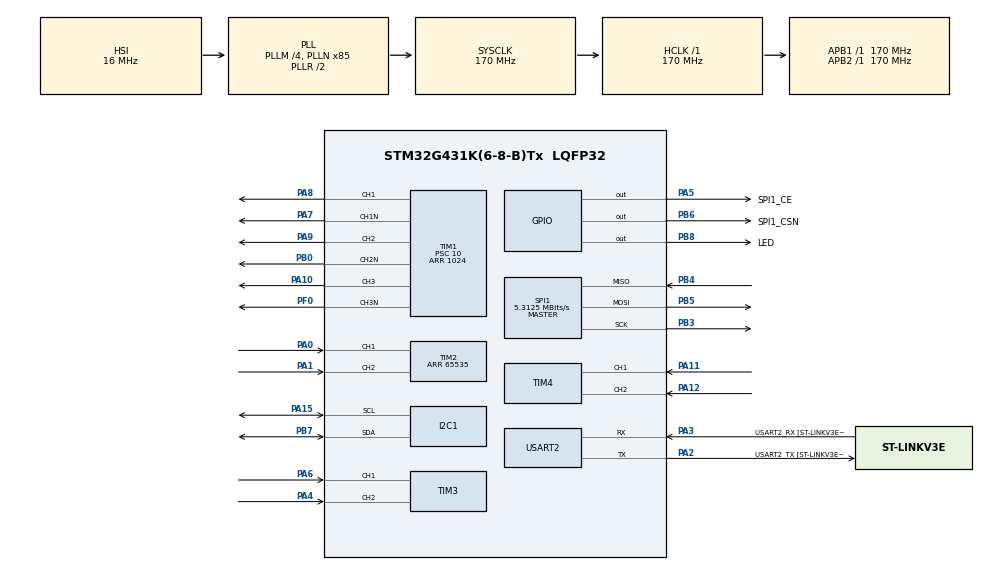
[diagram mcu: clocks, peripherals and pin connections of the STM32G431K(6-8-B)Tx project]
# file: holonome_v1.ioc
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I2C1.Timing=0x30A0A7FB
Mcu.Family=STM32G4
Mcu.Name=STM32G431K(6-8-B)Tx
Mcu.Package=LQFP32
NVIC.PriorityGroup=NVIC_PRIORITYGROUP_4
NVIC.TIM6_DAC_IRQn=true\:15\:0\:false\:false\:true\:false\:true\:true
NVIC.TIM7_IRQn=true\:0\:0\:false\:false\:true\:true\:true\:true
NVIC.TimeBase=TIM6_DAC_IRQn
NVIC.TimeBaseIP=TIM6
NVIC.USART2_IRQn=true\:0\:0\:false\:false\:true\:true\:true\:true
PA0.Signal=S_TIM2_CH1
PA1.Signal=S_TIM2_CH2
PA10.Signal=S_TIM1_CH3
PA11.Signal=S_TIM4_CH1
PA12.Signal=S_TIM4_CH2
PA13.GPIO_Label=T_SWDIO
PA13.Mode=Serial_Wire
PA13.Signal=SYS_JTMS-SWDIO
PA14.GPIO_Label=T_SWCLK
PA14.Mode=Serial_Wire
PA14.Signal=SYS_JTCK-SWCLK
PA15.Mode=I2C
PA15.Signal=I2C1_SCL
PA2.GPIO_Label=USART2_TX [ST-LINKV3E_VCP_RX]
PA2.Mode=Asynchronous
PA2.Signal=USART2_TX
PA3.GPIO_Label=USART2_RX [ST-LINKV3E_VCP_TX]
PA3.Mode=Asynchronous
PA3.Signal=USART2_RX
PA4.Signal=S_TIM3_CH2
PA5.GPIO_Label=SPI1_CE
PA5.Signal=GPIO_Output
PA6.Signal=S_TIM3_CH1
PA7.Mode=PWM Generation1 CH1 CH1N
PA7.Signal=TIM1_CH1N
PA8.Signal=S_TIM1_CH1
PA9.Signal=S_TIM1_CH2
PB0.Mode=PWM Generation2 CH2 CH2N
PB0.Signal=TIM1_CH2N
PB3.Mode=Full_Duplex_Master
PB3.Signal=SPI1_SCK
PB4.Mode=Full_Duplex_Master
PB4.Signal=SPI1_MISO
PB5.Mode=Full_Duplex_Master
PB5.Signal=SPI1_MOSI
PB6.GPIO_Label=SPI1_CSN
PB6.Signal=GPIO_Output
PB7.Mode=I2C
PB7.Signal=I2C1_SDA
PB8-BOOT0.GPIO_Label=LED
PB8-BOOT0.Signal=GPIO_Output
PF0-OSC_IN.Mode=PWM Generation3 CH3 CH3N
PF0-OSC_IN.Signal=TIM1_CH3N
ProjectManager.HeapSize=0x200
ProjectManager.StackSize=0x400
ProjectManager.TargetToolchain=STM32CubeIDE
RCC.ADC12Freq_Value=170000000
RCC.AHBFreq_Value=170000000
RCC.APB1Freq_Value=170000000
RCC.APB1TimFreq_Value=170000000
RCC.APB2Freq_Value=170000000
RCC.APB2TimFreq_Value=170000000
RCC.CortexFreq_Value=170000000
RCC.EXTERNAL_CLOCK_VALUE=12288000
RCC.HCLKFreq_Value=170000000
RCC.HSE_VALUE=8000000
RCC.HSI48_VALUE=48000000
RCC.HSI_VALUE=16000000
RCC.LSE_VALUE=32768
RCC.PLLM=RCC_PLLM_DIV4
RCC.PLLN=85
RCC.SYSCLKFreq_VALUE=170000000
RCC.SYSCLKSource=RCC_SYSCLKSOURCE_PLLCLK
RCC.USBFreq_Value=170000000
RCC.VCOOutputFreq_Value=340000000
SH.S_TIM1_CH1.0=TIM1_CH1,PWM Generation1 CH1 CH1N
SH.S_TIM1_CH2.0=TIM1_CH2,PWM Generation2 CH2 CH2N
SH.S_TIM1_CH3.0=TIM1_CH3,PWM Generation3 CH3 CH3N
SH.S_TIM2_CH1.0=TIM2_CH1,Encoder_Interface
SH.S_TIM2_CH2.0=TIM2_CH2,Encoder_Interface
SH.S_TIM3_CH1.0=TIM3_CH1,Encoder_Interface
SH.S_TIM3_CH2.0=TIM3_CH2,Encoder_Interface
SH.S_TIM4_CH1.0=TIM4_CH1,Encoder_Interface
SH.S_TIM4_CH2.0=TIM4_CH2,Encoder_Interface
SPI1.BaudRatePrescaler=SPI_BAUDRATEPRESCALER_32
SPI1.CalculateBaudRate=5.3125 MBits/s
SPI1.DataSize=SPI_DATASIZE_8BIT
SPI1.Direction=SPI_DIRECTION_2LINES
SPI1.Mode=SPI_MODE_MASTER
SPI1.VirtualType=VM_MASTER
TIM1.AutoReloadPreload=TIM_AUTORELOAD_PRELOAD_ENABLE
TIM1.Channel-PWM\ Generation1\ CH1\ CH1N=TIM_CHANNEL_1
TIM1.Channel-PWM\ Generation2\ CH2\ CH2N=TIM_CHANNEL_2
TIM1.Channel-PWM\ Generation3\ CH3\ CH3N=TIM_CHANNEL_3
TIM1.PeriodNoDither=1024
TIM1.Prescaler=10
TIM2.EncoderMode=TIM_ENCODERMODE_TI12
TIM2.PeriodNoDither=65535
TIM3.EncoderMode=TIM_ENCODERMODE_TI12
TIM4.EncoderMode=TIM_ENCODERMODE_TI12
TIM7.PeriodNoDither=1000-1
TIM7.Prescaler=1700-1
USART2.VirtualMode-Asynchronous=VM_ASYNC
USART2.WordLength=WORDLENGTH_8B
VP_SYS_VS_tim6.Mode=TIM6
VP_TIM1_VS_ClockSourceINT.Mode=Internal
VP_TIM7_VS_ClockSourceINT.Mode=Enable_Timer
board=NUCLEO-G431KB

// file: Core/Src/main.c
/* USER CODE BEGIN Header */
/**
 ******************************************************************************
 * @file           : main.c
 * @brief          : Main program body
 ******************************************************************************
 * @attention
 *
 * Copyright (c) 2022 STMicroelectronics.
 * All rights reserved.
 *
 * This software is licensed under terms that can be found in the LICENSE file
 * in the root directory of this software component.
 * If no LICENSE file comes with this software, it is provided AS-IS.
 *
 ******************************************************************************
 */
/* USER CODE END Header */
#include "main.h"
#include "i2c.h"
#include "spi.h"
#include "tim.h"
#include "usart.h"
#include "gpio.h"

/* USER CODE BEGIN Includes */
#include <stdio.h>
#include <string.h>
#include "mpu6050.h"
#include "nrf24l01.h"
#include "motor.h"
/* USER CODE END Includes */

/* USER CODE BEGIN PTD */
#define UART_TX_BUFFER_SIZE 64
#define UART_RX_BUFFER_SIZE 1

/* USER CODE END PTD */

/* USER CODE BEGIN PV */
uint8_t uartTxBuffer[UART_TX_BUFFER_SIZE];
uint8_t uartRxBuffer[UART_RX_BUFFER_SIZE];
unsigned int sizeUartTx=0;
uint8_t errorMsg[]="Erreur \r\n";
uint8_t tickMsg[]="Tick \r\n";

uint8_t spiRxBuffer[32];
uint8_t spiTxBuffer[32];
uint8_t rxAddrP0[5] = {0x00,0xDD,0xCC,0xBB,0xAA};
uint8_t rxAddrP1[5] = {0x00,0xDD,0xCC,0xBB,0xAA};
uint8_t rxAddrP2[5] = {0x00,0xDD,0xCC,0xBB,0xAA};
uint8_t rxAddrP3[5] = {0x00,0xDD,0xCC,0xBB,0xAA};
uint8_t rxAddrP4[5] = {0x00,0xDD,0xCC,0xBB,0xAA};
uint8_t rxAddrP5[5] = {0x00,0xDD,0xCC,0xBB,0xAA};
uint8_t txAddr[5] = {0x00,0xDD,0xCC,0xBB,0xAA};
uint8_t nrf24TxPayload[] = "Hello world from nrf24\r\n";
uint8_t nrf24RxPayload[32] = {};
MPU_Accel_float accel;
MPU_Gyro_float gyro;

uint8_t uartRxReceived;

Motor_HandleTypeDef motorA ={&htim1, TIM_CHANNEL_1, 0, 1500, 0, 0, 0, 0, 0, 0, 0, 0, 25, 3, 0};
Motor_HandleTypeDef motorB ={&htim1, TIM_CHANNEL_2, 0, 549, 0, 0, 0, 0, 0, 0, 0, 0, 25, 3, 0};
Motor_HandleTypeDef motorC ={&htim1, TIM_CHANNEL_3, 0, -2049, 0, 0, 0, 0, 0, 0, 0, 0, 25, 3, 0};

uint8_t consigne = 0;
int divPrint = 0;
/* USER CODE END PV */

void SystemClock_Config(void);

/* USER CODE BEGIN 0 */
void HAL_UART_RxCpltCallback (UART_HandleTypeDef * huart){
	uartRxReceived = 1;
	HAL_UART_Transmit(&huart2, uartRxBuffer, 1, 100);
	HAL_UART_Receive_IT(&huart2, uartRxBuffer, UART_RX_BUFFER_SIZE);
}

/* USER CODE END 0 */

int main(void)
{
	/* USER CODE BEGIN 1 */
	int stringLength;
	int inc = 0;
	int reg = 0;
	int mode = 0;

	int increment=1;
	// 0 power down
	// 1 rx mode
	// 2 tx mode
	/* USER CODE END 1 */

	/* MCU Configuration--------------------------------------------------------*/

	/* Reset of all peripherals, Initializes the Flash interface and the Systick. */
	HAL_Init();

	/* Configure the system clock */
	SystemClock_Config();

	/* Initialize all configured peripherals */
	MX_GPIO_Init();
	MX_USART2_UART_Init();
	MX_I2C1_Init();
	MX_TIM1_Init();
	MX_TIM2_Init();
	MX_TIM3_Init();
	MX_TIM4_Init();
	MX_SPI1_Init();
	MX_TIM7_Init();
	/* USER CODE BEGIN 2 */
	HAL_UART_Receive_IT(&huart2, uartRxBuffer, UART_RX_BUFFER_SIZE);
	stringLength = snprintf((char *) uartTxBuffer,UART_TX_BUFFER_SIZE,"*** Starting ***\r\n");
	HAL_UART_Transmit(&huart2, uartTxBuffer, stringLength, 100);
	//MPU6050_Init();
	//NRF24L01_Init();
	__HAL_TIM_SET_COUNTER(&htim2,37767);
	__HAL_TIM_SET_COUNTER(&htim3,37767);
	__HAL_TIM_SET_COUNTER(&htim4,37767);

	HAL_TIM_Base_Start(&htim1);
	HAL_TIM_Base_Start_IT(&htim7);

	HAL_TIM_Encoder_Start(&htim2, TIM_CHANNEL_ALL);
	HAL_TIM_Encoder_Start(&htim3, TIM_CHANNEL_ALL);
	HAL_TIM_Encoder_Start(&htim4, TIM_CHANNEL_ALL);

	/* USER CODE END 2 */

	/* Infinite loop */
	/* USER CODE BEGIN WHILE */
	while (1)
	{

		motorA.speed64 = 1500;
		motorB.speed64 = 549;
		motorC.speed64 = -2049;
		HAL_Delay(1000);
		motorA.speed64 = 1500;
		motorB.speed64 = 1500;
		motorC.speed64 = 1500;
		HAL_Delay(1000);
		motorA.speed64 = -1500;
		motorB.speed64 = -549;
		motorC.speed64 = 2049;
		HAL_Delay(1000);
		motorA.speed64 = -1500;
		motorB.speed64 = -1500;
		motorC.speed64 = -1500;
		HAL_Delay(1000);

		/****************************************************************************************************************/
		/* Start -- Receive data from MPU6050 																			*/
		/****************************************************************************************************************/
		/*if(HAL_OK != MPU6050_Read_Accel(&accel)){
			HAL_UART_Transmit(&huart2, errorMsg, strlen((char *)errorMsg), HAL_MAX_DELAY);
		}
		if(HAL_OK !=  MPU6050_Read_Gyro(&gyro)){
			HAL_UART_Transmit(&huart2, errorMsg, strlen((char *)errorMsg), HAL_MAX_DELAY);
		}
		stringLength = snprintf((char *) uartTxBuffer,UART_TX_BUFFER_SIZE,"Speed (%1.3f,%1.3f,%1.3f)\r\n",accel.x,accel.y,accel.z);
		HAL_UART_Transmit(&huart2, uartTxBuffer, stringLength, 100);
		stringLength = snprintf((char *) uartTxBuffer,UART_TX_BUFFER_SIZE,"Gyro (%3.3f,%3.3f,%3.3f)\r\n",gyro.x,gyro.y,gyro.z);
		HAL_UART_Transmit(&huart2, uartTxBuffer, stringLength, 100);*/
		/****************************************************************************************************************/
		/* End -- Receive data from MPU6050 																			*/
		/****************************************************************************************************************/

		/****************************************************************************************************************/
		/* Start -- Check status of NRF24L01 																			*/
		/****************************************************************************************************************/
		//HAL_GPIO_WritePin(SPI1_CSN_GPIO_Port, SPI1_CSN_Pin, RESET);
		/*NRF24L01_WriteCSN(RESET);
		if(HAL_OK != HAL_SPI_TransmitReceive(//&hspi1, spiTxBuffer, spiRxBuffer, 1, 100)){
			stringLength = snprintf((char *) uartTxBuffer,UART_TX_BUFFER_SIZE,"SPI Error\r\n",spiRxBuffer[0]);
			HAL_UART_Transmit(&huart2, uartTxBuffer, stringLength, 100);
		}
		else{
			stringLength = snprintf((char *) uartTxBuffer,UART_TX_BUFFER_SIZE,"SPI data received : Ox%2x\r\n",spiRxBuffer[0]);
			HAL_UART_Transmit(&huart2, uartTxBuffer, stringLength, 100);
		}*/
		/*if(HAL_OK != NRF24L01_GetStatus(spiRxBuffer, 100)){
			stringLength = snprintf((char *) uartTxBuffer,UART_TX_BUFFER_SIZE,"SPI Error\r\n",spiRxBuffer[0]);
			HAL_UART_Transmit(&huart2, uartTxBuffer, stringLength, 100);
		}
		else{
			stringLength = snprintf((char *) uartTxBuffer,UART_TX_BUFFER_SIZE,"SPI data received : Ox%2x\r\n",spiRxBuffer[0]);
			HAL_UART_Transmit(&huart2, uartTxBuffer, stringLength, 100);
		}*/

		/****************************************************************************************************************/
		/* End -- Check status of NRF24L01	 																			*/
		/****************************************************************************************************************/

		/****************************************************************************************************************/
		/* Start -- Read register of NRF24L01 and get Rx Addr on all pipes												*/
		/****************************************************************************************************************/
		/*NRF24L01_ReadRegister(0, spiRxBuffer, 32);
		for(inc = 0; inc < 32; inc++){
			switch(inc){
			case 0 :
				stringLength = snprintf((char *) uartTxBuffer,UART_TX_BUFFER_SIZE,"Reg 0x00-0F : %2x",spiRxBuffer[inc]);
				HAL_UART_Transmit(&huart2, uartTxBuffer, stringLength, 100);
				break;
			case 16 :
				stringLength = snprintf((char *) uartTxBuffer,UART_TX_BUFFER_SIZE,"Reg 0x10-1F : %2x",spiRxBuffer[inc]);
				HAL_UART_Transmit(&huart2, uartTxBuffer, stringLength, 100);
				break;
			case 15 :
			case 31 :
				stringLength = snprintf((char *) uartTxBuffer,UART_TX_BUFFER_SIZE," | %2x\r\n",spiRxBuffer[inc]);
				HAL_UART_Transmit(&huart2, uartTxBuffer, stringLength, 100);
				break;
			default :
				stringLength = snprintf((char *) uartTxBuffer,UART_TX_BUFFER_SIZE," | %2x",spiRxBuffer[inc]);
				HAL_UART_Transmit(&huart2, uartTxBuffer, stringLength, 100);
				break;
			}
		}

		NRF24L01_GetRxAddr(0, rxAddrP0);
		stringLength = snprintf((char *) uartTxBuffer,UART_TX_BUFFER_SIZE,"Rx Addr P0 :  0x%2x%2x%2x%2x%2x \r\n",rxAddrP0[0],rxAddrP0[1],rxAddrP0[2],rxAddrP0[3],rxAddrP0[4]);
		HAL_UART_Transmit(&huart2, uartTxBuffer, stringLength, 100);

		NRF24L01_GetRxAddr(1, rxAddrP1);
		stringLength = snprintf((char *) uartTxBuffer,UART_TX_BUFFER_SIZE,"Rx Addr P1 :  0x%2x%2x%2x%2x%2x \r\n",rxAddrP1[0],rxAddrP1[1],rxAddrP1[2],rxAddrP1[3],rxAddrP1[4]);
		HAL_UART_Transmit(&huart2, uartTxBuffer, stringLength, 100);

		NRF24L01_GetRxAddr(2, rxAddrP2);
		stringLength = snprintf((char *) uartTxBuffer,UART_TX_BUFFER_SIZE,"Rx Addr P2 :  0x%2x%2x%2x%2x%2x \r\n",rxAddrP2[0],rxAddrP2[1],rxAddrP2[2],rxAddrP2[3],rxAddrP2[4]);
		HAL_UART_Transmit(&huart2, uartTxBuffer, stringLength, 100);

		NRF24L01_GetRxAddr(3, rxAddrP3);
		stringLength = snprintf((char *) uartTxBuffer,UART_TX_BUFFER_SIZE,"Rx Addr P3 :  0x%2x%2x%2x%2x%2x \r\n",rxAddrP3[0],rxAddrP3[1],rxAddrP3[2],rxAddrP3[3],rxAddrP3[4]);
		HAL_UART_Transmit(&huart2, uartTxBuffer, stringLength, 100);

		NRF24L01_GetRxAddr(4, rxAddrP4);
		stringLength = snprintf((char *) uartTxBuffer,UART_TX_BUFFER_SIZE,"Rx Addr P4 :  0x%2x%2x%2x%2x%2x \r\n",rxAddrP4[0],rxAddrP4[1],rxAddrP4[2],rxAddrP4[3],rxAddrP4[4]);
		HAL_UART_Transmit(&huart2, uartTxBuffer, stringLength, 100);

		NRF24L01_GetRxAddr(5, rxAddrP5);
		stringLength = snprintf((char *) uartTxBuffer,UART_TX_BUFFER_SIZE,"Rx Addr P5 :  0x%2x%2x%2x%2x%2x \r\n",rxAddrP5[0],rxAddrP5[1],rxAddrP5[2],rxAddrP5[3],rxAddrP5[4]);
		HAL_UART_Transmit(&huart2, uartTxBuffer, stringLength, 100);
		 */
		/****************************************************************************************************************/
		/* End -- Read register of NRF24L01 and get Rx Addr on all pipes												*/
		/****************************************************************************************************************/

		/****************************************************************************************************************/
		/* Begin -- Write register of NRF24L01 																			*/
		/****************************************************************************************************************/
		/*
		NRF24L01_ReadRegister(reg, spiRxBuffer, 1);
		stringLength = snprintf((char *) uartTxBuffer,UART_TX_BUFFER_SIZE,"Before Writing #00 : 0x%2x\r\n",spiRxBuffer[inc]);
		HAL_UART_Transmit(&huart2, uartTxBuffer, stringLength, 100);

		spiTxBuffer[0]=0x0A;
		NRF24L01_WriteRegister(reg, spiTxBuffer, 1);

		NRF24L01_ReadRegister(reg, spiRxBuffer, 1);
		stringLength = snprintf((char *) uartTxBuffer,UART_TX_BUFFER_SIZE,"After Writing #00 : 0x%2x\r\n",spiRxBuffer[inc]);
		HAL_UART_Transmit(&huart2, uartTxBuffer, stringLength, 100);
		 */
		/****************************************************************************************************************/
		/* End -- Write register of NRF24L01 																			*/
		/****************************************************************************************************************/

		/****************************************************************************************************************/
		/* Begin -- Set Channel of NRF24L01 																			*/
		/****************************************************************************************************************/
		/*reg = RF_CH;
		NRF24L01_ReadRegister(reg, spiRxBuffer, 1);
		stringLength = snprintf((char *) uartTxBuffer,UART_TX_BUFFER_SIZE,"Before Writing #00 : 0x%2x\r\n",spiRxBuffer[inc]);
		HAL_UART_Transmit(&huart2, uartTxBuffer, stringLength, 100);

		//spiTxBuffer[0]=0x0A;
		//NRF24L01_WriteRegister(reg, spiTxBuffer, 1);
		NFR24L01_SetChannel(0x1F);

		NRF24L01_ReadRegister(reg, spiRxBuffer, 1);
		stringLength = snprintf((char *) uartTxBuffer,UART_TX_BUFFER_SIZE,"After Writing #00 : 0x%2x\r\n",spiRxBuffer[inc]);
		HAL_UART_Transmit(&huart2, uartTxBuffer, stringLength, 100);
		 */
		/****************************************************************************************************************/
		/* End -- Write register of NRF24L01 																			*/
		/****************************************************************************************************************/
		if(uartRxReceived){
			switch(uartRxBuffer[0]){
			case 't' :
				stringLength = snprintf((char *) uartTxBuffer,UART_TX_BUFFER_SIZE,"\r\nSet Tx Mode\r\n");
				HAL_UART_Transmit(&huart2, uartTxBuffer, stringLength, 100);
				mode = 2;
				NRF24L01_SetTxMode(txAddr, 10);
				break;
			case 'r' :
				stringLength = snprintf((char *) uartTxBuffer,UART_TX_BUFFER_SIZE,"\r\nSet Rx Mode\r\n");
				HAL_UART_Transmit(&huart2, uartTxBuffer, stringLength, 100);
				mode = 1;
				NRF24L01_SetRxMode(rxAddrP0, 10, 0);
				break;
			case 's' :
				if(mode!=2){
					stringLength = snprintf((char *) uartTxBuffer,UART_TX_BUFFER_SIZE,"\r\nSet in Tx Mode before sending data\r\n");
					HAL_UART_Transmit(&huart2, uartTxBuffer, stringLength, 100);
				}
				else{
					stringLength = snprintf((char *) uartTxBuffer,UART_TX_BUFFER_SIZE,"\r\nSend data\r\n");
					HAL_UART_Transmit(&huart2, uartTxBuffer, stringLength, 100);

					if(NRF24L01_WritePayload(nrf24TxPayload, sizeof(nrf24TxPayload))==HAL_OK){
						stringLength = snprintf((char *) uartTxBuffer,UART_TX_BUFFER_SIZE,"\r\nTransmission Successful\r\n");
						HAL_UART_Transmit(&huart2, uartTxBuffer, stringLength, 100);
					}
					else{
						stringLength = snprintf((char *) uartTxBuffer,UART_TX_BUFFER_SIZE,"\r\Transmission Error\r\n");
						HAL_UART_Transmit(&huart2, uartTxBuffer, stringLength, 100);
					}

				}
				break;
			case 'p' :
				if(mode!=1){
					stringLength = snprintf((char *) uartTxBuffer,UART_TX_BUFFER_SIZE,"\r\nSet in Rx Mode before receving data\r\n");
					HAL_UART_Transmit(&huart2, uartTxBuffer, stringLength, 100);
				}
				else if(NF24L01_IsDataAvailable(0)==HAL_OK){
					NRF24L01_ReadPayload(nrf24RxPayload, 32);
					stringLength = snprintf((char *) uartTxBuffer,UART_TX_BUFFER_SIZE,"\r\nData received\r\n");
					HAL_UART_Transmit(&huart2, uartTxBuffer, stringLength, 100);
					stringLength = snprintf((char *) uartTxBuffer,UART_TX_BUFFER_SIZE,"%s",nrf24RxPayload);
					HAL_UART_Transmit(&huart2, uartTxBuffer, stringLength, 100);
				}
				else{
					stringLength = snprintf((char *) uartTxBuffer,UART_TX_BUFFER_SIZE,"\r\nNo Data received\r\n");
					HAL_UART_Transmit(&huart2, uartTxBuffer, stringLength, 100);
					NRF24L01_ReadPayload(nrf24RxPayload, 32);
					stringLength = snprintf((char *) uartTxBuffer,UART_TX_BUFFER_SIZE,"\r\nData received\r\n");
					HAL_UART_Transmit(&huart2, uartTxBuffer, stringLength, 100);

				}
				for(int idx = 0; idx<32; idx++){
					stringLength = snprintf((char *) uartTxBuffer,UART_TX_BUFFER_SIZE,"0x%2x",nrf24RxPayload[idx]);
					HAL_UART_Transmit(&huart2, uartTxBuffer, stringLength, 100);
				}
				break;

			case '+' :
				motorA.Kp++;
				break;
			case '-' :
				motorA.Kp--;
				break;

			case '1' :
				motorA.speed64--;
				motorLimitSpeed(&motorA);
				stringLength = snprintf((char *) uartTxBuffer,UART_TX_BUFFER_SIZE,"Target Speed x64 = %5d\r\n",motorA.speed64);
				HAL_UART_Transmit(&huart2, uartTxBuffer, stringLength, 100);
				break;
			case '3' :
				motorA.speed64++;
				motorLimitSpeed(&motorA);
				stringLength = snprintf((char *) uartTxBuffer,UART_TX_BUFFER_SIZE,"Target Speed x64 = %5d\r\n",motorA.speed64);
				HAL_UART_Transmit(&huart2, uartTxBuffer, stringLength, 100);
				break;
			case '4' :
				motorA.speed64-=10;
				motorLimitSpeed(&motorA);
				stringLength = snprintf((char *) uartTxBuffer,UART_TX_BUFFER_SIZE,"Target Speed x64 = %5d\r\n",motorA.speed64);
				HAL_UART_Transmit(&huart2, uartTxBuffer, stringLength, 100);
				break;
			case '6' :
				motorA.speed64+=10;
				motorLimitSpeed(&motorA);
				stringLength = snprintf((char *) uartTxBuffer,UART_TX_BUFFER_SIZE,"Target Speed x64 = %5d\r\n",motorA.speed64);
				HAL_UART_Transmit(&huart2, uartTxBuffer, stringLength, 100);
				break;
			case '7' :
				motorA.speed64-=100;
				motorLimitSpeed(&motorA);
				stringLength = snprintf((char *) uartTxBuffer,UART_TX_BUFFER_SIZE,"Target Speed x64 = %5d\r\n",motorA.speed64);
				HAL_UART_Transmit(&huart2, uartTxBuffer, stringLength, 100);
				break;
			case '9' :
				motorA.speed64+=100;
				motorLimitSpeed(&motorA);
				stringLength = snprintf((char *) uartTxBuffer,UART_TX_BUFFER_SIZE,"Target Speed x64 = %5d\r\n",motorA.speed64);
				HAL_UART_Transmit(&huart2, uartTxBuffer, stringLength, 100);
				break;
			case '0' :
				motorA.speed64 = 0;
				stringLength = snprintf((char *) uartTxBuffer,UART_TX_BUFFER_SIZE,"Target Speed x64 = %5d\r\n",motorA.speed64);
				HAL_UART_Transmit(&huart2, uartTxBuffer, stringLength, 100);
				break;
			default:
				break;
			}
			uartRxReceived = 0;
		}
		/* USER CODE END WHILE */

		/* USER CODE BEGIN 3 */
		/*if(speedValue == 1023) increment = 1;
		if(speedValue == -1023) increment = -1;if(encSpeedMotorA < targetSpeed) speed +);
		speedValue += increment;
		motorSetSpeed(&htim1, TIM_CHANNEL_1, speedValue);
		motorSetSpeed(&htim1, TIM_CHANNEL_2, speedValue);
		motorSetSpeed(&htim1, TIM_CHANNEL_3, speedValue);
		HAL_Delay(10);
		 */

	}
	/* USER CODE END 3 */
}

void SystemClock_Config(void)
{
	RCC_OscInitTypeDef RCC_OscInitStruct = {0};
	RCC_ClkInitTypeDef RCC_ClkInitStruct = {0};

	/** Configure the main internal regulator output voltage
	 */
	HAL_PWREx_ControlVoltageScaling(PWR_REGULATOR_VOLTAGE_SCALE1_BOOST);

	/** Initializes the RCC Oscillators according to the specified parameters
	 * in the RCC_OscInitTypeDef structure.
	 */
	RCC_OscInitStruct.OscillatorType = RCC_OSCILLATORTYPE_HSI;
	RCC_OscInitStruct.HSIState = RCC_HSI_ON;
	RCC_OscInitStruct.HSICalibrationValue = RCC_HSICALIBRATION_DEFAULT;
	RCC_OscInitStruct.PLL.PLLState = RCC_PLL_ON;
	RCC_OscInitStruct.PLL.PLLSource = RCC_PLLSOURCE_HSI;
	RCC_OscInitStruct.PLL.PLLM = RCC_PLLM_DIV4;
	RCC_OscInitStruct.PLL.PLLN = 85;
	RCC_OscInitStruct.PLL.PLLP = RCC_PLLP_DIV2;
	RCC_OscInitStruct.PLL.PLLQ = RCC_PLLQ_DIV2;
	RCC_OscInitStruct.PLL.PLLR = RCC_PLLR_DIV2;
	if (HAL_RCC_OscConfig(&RCC_OscInitStruct) != HAL_OK)
	{
		Error_Handler();
	}

	/** Initializes the CPU, AHB and APB buses clocks
	 */
	RCC_ClkInitStruct.ClockType = RCC_CLOCKTYPE_HCLK|RCC_CLOCKTYPE_SYSCLK
			|RCC_CLOCKTYPE_PCLK1|RCC_CLOCKTYPE_PCLK2;
	RCC_ClkInitStruct.SYSCLKSource = RCC_SYSCLKSOURCE_PLLCLK;
	RCC_ClkInitStruct.AHBCLKDivider = RCC_SYSCLK_DIV1;
	RCC_ClkInitStruct.APB1CLKDivider = RCC_HCLK_DIV1;
	RCC_ClkInitStruct.APB2CLKDivider = RCC_HCLK_DIV1;

	if (HAL_RCC_ClockConfig(&RCC_ClkInitStruct, FLASH_LATENCY_4) != HAL_OK)
	{
		Error_Handler();
	}
}

void HAL_TIM_PeriodElapsedCallback(TIM_HandleTypeDef *htim)
{
	/* USER CODE BEGIN Callback 0 */
	int stringLength;
	// TIM7 = 10Hz for Encodeur mesuring
	if(htim->Instance ==  TIM7){

		motorA.encPos = __HAL_TIM_GET_COUNTER(&htim2);
		__HAL_TIM_SET_COUNTER(&htim2,37767);
		motorB.encPos = __HAL_TIM_GET_COUNTER(&htim3);
		__HAL_TIM_SET_COUNTER(&htim3,37767);
		motorC.encPos = __HAL_TIM_GET_COUNTER(&htim4);
		__HAL_TIM_SET_COUNTER(&htim4,37767);

		motorA.encSpeed64 = (motorA.encPos-37767)*24; // 24 = 2*pi/48*0.029*fe*64
		motorA.diffError64 = (motorA.speed64 - motorA.encSpeed64) - motorA.error64;
		motorA.error64 = (motorA.speed64 - motorA.encSpeed64);
		motorA.sumError64 += motorA.error64;
		motorA.commande64 = motorA.speed64*motorA.Kp + motorA.sumError64*motorA.Ki + motorA.diffError64*motorA.Kd;

		motorB.encSpeed64 = (motorB.encPos-37767)*24; // 24 = 2*pi/48*0.029*fe*64
		motorB.diffError64 = (motorB.speed64 - motorB.encSpeed64) - motorB.error64;
		motorB.error64 = (motorB.speed64 - motorB.encSpeed64);
		motorB.sumError64 += motorB.error64;
		motorB.commande64 = motorB.speed64*motorB.Kp + motorB.sumError64*motorB.Ki + motorB.diffError64*motorB.Kd;

		motorC.encSpeed64 = (motorC.encPos-37767)*24; // 24 = 2*pi/48*0.029*fe*64
		motorC.diffError64 = (motorC.speed64 - motorC.encSpeed64) - motorC.error64;
		motorC.error64 = (motorC.speed64 - motorC.encSpeed64);
		motorC.sumError64 += motorC.error64;
		motorC.commande64 = motorC.speed64*motorC.Kp + motorC.sumError64*motorC.Ki + motorC.diffError64*motorC.Kd;

		/*
		if(divPrint == 0){
			stringLength = snprintf((char *) uartTxBuffer,UART_TX_BUFFER_SIZE,"Kd A : {%4d} ", motorA.Kd);
			HAL_UART_Transmit(&huart2, uartTxBuffer, stringLength, 100);
			stringLength = snprintf((char *) uartTxBuffer,UART_TX_BUFFER_SIZE,"PWM A : {%4d} ", motorA.pwm);
			HAL_UART_Transmit(&huart2, uartTxBuffer, stringLength, 100);
			stringLength = snprintf((char *) uartTxBuffer,UART_TX_BUFFER_SIZE,"Target A : {%4d} || ", motorA.speed64);
			HAL_UART_Transmit(&huart2, uartTxBuffer, stringLength, 100);
			stringLength = snprintf((char *) uartTxBuffer,UART_TX_BUFFER_SIZE,"Speed Enc A : {%4d} || ", motorA.encSpeed64);
			HAL_UART_Transmit(&huart2, uartTxBuffer, stringLength, 100);
			stringLength = snprintf((char *) uartTxBuffer,UART_TX_BUFFER_SIZE,"Erreur A : {%4d}\r\n", motorA.error64);
			HAL_UART_Transmit(&huart2, uartTxBuffer, stringLength, 100);
		}
		divPrint += 1;
		divPrint %= 100;
		 */

		motorSetSpeed(&motorA);
		motorSetSpeed(&motorB);
		motorSetSpeed(&motorC);
	}
	/* USER CODE END Callback 0 */
	if (htim->Instance == TIM6) {
		HAL_IncTick();
	}
}

void Error_Handler(void)
{
	__disable_irq();
	while (1)
	{
	}
}
